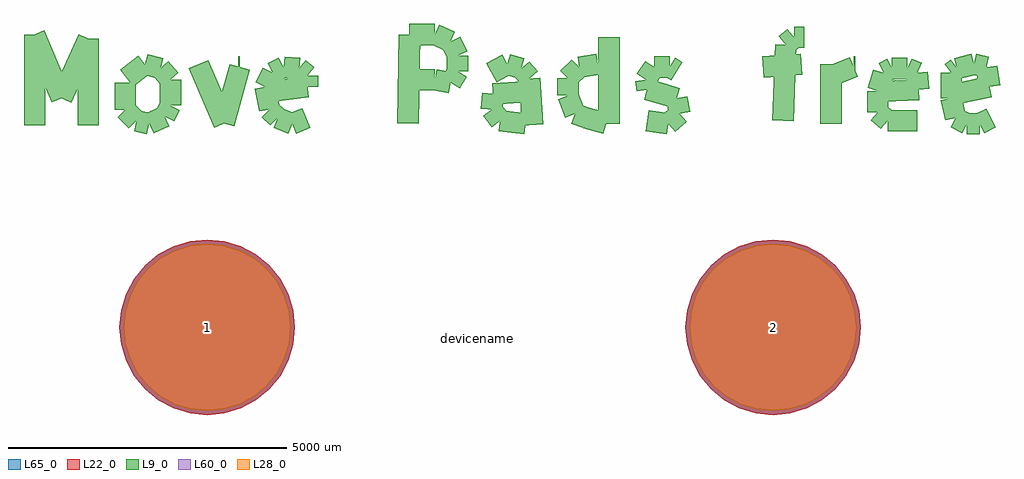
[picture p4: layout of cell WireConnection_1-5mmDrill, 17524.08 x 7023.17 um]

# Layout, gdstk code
import gdstk
lib = gdstk.Library(unit=1e-6, precision=1e-09)
def P(c, l, *ps):  # polygons
    for p in ps: c.add(gdstk.Polygon(p, *l))
L9_0 = (9, 0)
L22_0 = (22, 0)
L28_0 = (28, 0)
L60_0 = (60, 0)
L65_0 = (65, 0)

wireconnection_1_5mmdril = lib.new_cell('WireConnection_1-5mmDrill')
P(wireconnection_1_5mmdril, L22_0, [(11734.87,0),(11704.609,307.242),(11614.99,602.677),(11469.457,874.951),(11273.601,1113.601),(11034.951,1309.457),(10762.677,1454.99),(10467.242,1544.609),(10160,1574.87),(9852.758,1544.609),(9557.323,1454.99),(9285.049,1309.457),(9046.399,1113.601),(8850.543,874.951),(8705.01,602.677),(8615.391,307.242),(8585.13,0),(8615.391,-307.242),(8705.01,-602.677),(8850.543,-874.951),(9046.399,-1113.601),(9285.049,-1309.457),(9557.323,-1454.99),(9852.758,-1544.609),(10160,-1574.87),(10467.242,-1544.609),(10762.677,-1454.99),(11034.951,-1309.457),(11273.601,-1113.601),(11469.457,-874.951),(11614.99,-602.677),(11704.609,-307.242)],
  [(1574.87,0),(1544.609,307.242),(1454.99,602.677),(1309.457,874.951),(1113.601,1113.601),(874.951,1309.457),(602.677,1454.99),(307.242,1544.609),(0,1574.87),(-307.242,1544.609),(-602.677,1454.99),(-874.951,1309.457),(-1113.601,1113.601),(-1309.457,874.951),(-1454.99,602.677),(-1544.609,307.242),(-1574.87,0),(-1544.609,-307.242),(-1454.99,-602.677),(-1309.457,-874.951),(-1113.601,-1113.601),(-874.951,-1309.457),(-602.677,-1454.99),(-307.242,-1544.609),(0,-1574.87),(307.242,-1544.609),(602.677,-1454.99),(874.951,-1309.457),(1113.601,-1113.601),(1309.457,-874.951),(1454.99,-602.677),(1544.609,-307.242)])
P(wireconnection_1_5mmdril, L28_0, [(11659.87,0),(11631.05,292.61),(11545.699,573.975),(11407.096,833.283),(11220.568,1060.568),(10993.283,1247.096),(10733.975,1385.699),(10452.61,1471.05),(10160,1499.87),(9867.39,1471.05),(9586.025,1385.699),(9326.717,1247.096),(9099.432,1060.568),(8912.904,833.283),(8774.301,573.975),(8688.95,292.61),(8660.13,0),(8688.95,-292.61),(8774.301,-573.975),(8912.904,-833.283),(9099.432,-1060.568),(9326.717,-1247.096),(9586.025,-1385.699),(9867.39,-1471.05),(10160,-1499.87),(10452.61,-1471.05),(10733.975,-1385.699),(10993.283,-1247.096),(11220.568,-1060.568),(11407.096,-833.283),(11545.699,-573.975),(11631.05,-292.61)],
  [(1499.87,0),(1471.05,292.61),(1385.699,573.975),(1247.096,833.283),(1060.568,1060.568),(833.283,1247.096),(573.975,1385.699),(292.61,1471.05),(0,1499.87),(-292.61,1471.05),(-573.975,1385.699),(-833.283,1247.096),(-1060.568,1060.568),(-1247.096,833.283),(-1385.699,573.975),(-1471.05,292.61),(-1499.87,0),(-1471.05,-292.61),(-1385.699,-573.975),(-1247.096,-833.283),(-1060.568,-1060.568),(-833.283,-1247.096),(-573.975,-1385.699),(-292.61,-1471.05),(0,-1499.87),(292.61,-1471.05),(573.975,-1385.699),(833.283,-1247.096),(1060.568,-1060.568),(1247.096,-833.283),(1385.699,-573.975),(1471.05,-292.61)])
P(wireconnection_1_5mmdril, L60_0, [(11659.87,0),(11631.05,292.61),(11545.699,573.975),(11407.096,833.283),(11220.568,1060.568),(10993.283,1247.096),(10733.975,1385.699),(10452.61,1471.05),(10160,1499.87),(9867.39,1471.05),(9586.025,1385.699),(9326.717,1247.096),(9099.432,1060.568),(8912.904,833.283),(8774.301,573.975),(8688.95,292.61),(8660.13,0),(8688.95,-292.61),(8774.301,-573.975),(8912.904,-833.283),(9099.432,-1060.568),(9326.717,-1247.096),(9586.025,-1385.699),(9867.39,-1471.05),(10160,-1499.87),(10452.61,-1471.05),(10733.975,-1385.699),(10993.283,-1247.096),(11220.568,-1060.568),(11407.096,-833.283),(11545.699,-573.975),(11631.05,-292.61)],
  [(1499.87,0),(1471.05,292.61),(1385.699,573.975),(1247.096,833.283),(1060.568,1060.568),(833.283,1247.096),(573.975,1385.699),(292.61,1471.05),(0,1499.87),(-292.61,1471.05),(-573.975,1385.699),(-833.283,1247.096),(-1060.568,1060.568),(-1247.096,833.283),(-1385.699,573.975),(-1471.05,292.61),(-1499.87,0),(-1471.05,-292.61),(-1385.699,-573.975),(-1247.096,-833.283),(-1060.568,-1060.568),(-833.283,-1247.096),(-573.975,-1385.699),(-292.61,-1471.05),(0,-1499.87),(292.61,-1471.05),(573.975,-1385.699),(833.283,-1247.096),(1060.568,-1060.568),(1247.096,-833.283),(1385.699,-573.975),(1471.05,-292.61)])
P(wireconnection_1_5mmdril, L65_0, [(11734.87,0),(11704.609,307.242),(11614.99,602.677),(11469.457,874.951),(11273.601,1113.601),(11034.951,1309.457),(10762.677,1454.99),(10467.242,1544.609),(10160,1574.87),(9852.758,1544.609),(9557.323,1454.99),(9285.049,1309.457),(9046.399,1113.601),(8850.543,874.951),(8705.01,602.677),(8615.391,307.242),(8585.13,0),(8615.391,-307.242),(8705.01,-602.677),(8850.543,-874.951),(9046.399,-1113.601),(9285.049,-1309.457),(9557.323,-1454.99),(9852.758,-1544.609),(10160,-1574.87),(10467.242,-1544.609),(10762.677,-1454.99),(11034.951,-1309.457),(11273.601,-1113.601),(11469.457,-874.951),(11614.99,-602.677),(11704.609,-307.242)],
  [(1574.87,0),(1544.609,307.242),(1454.99,602.677),(1309.457,874.951),(1113.601,1113.601),(874.951,1309.457),(602.677,1454.99),(307.242,1544.609),(0,1574.87),(-307.242,1544.609),(-602.677,1454.99),(-874.951,1309.457),(-1113.601,1113.601),(-1309.457,874.951),(-1454.99,602.677),(-1544.609,307.242),(-1574.87,0),(-1544.609,-307.242),(-1454.99,-602.677),(-1309.457,-874.951),(-1113.601,-1113.601),(-874.951,-1309.457),(-602.677,-1454.99),(-307.242,-1544.609),(0,-1574.87),(307.242,-1544.609),(602.677,-1454.99),(874.951,-1309.457),(1113.601,-1113.601),(1309.457,-874.951),(1454.99,-602.677),(1544.609,-307.242)])
wireconnection_1_5mmdril.add(gdstk.FlexPath([(-2133.6,5181.6),(-2133.6,3632.2)], 380.998, ends="flush", simple_path=True, layer=9, datatype=0))  # L9_0
wireconnection_1_5mmdril.add(gdstk.FlexPath([(-2616.2,4114.8),(-2133.6,5181.6)], 380.998, ends="flush", simple_path=True, layer=9, datatype=0))  # L9_0
wireconnection_1_5mmdril.add(gdstk.FlexPath([(-3098.8,5257.8),(-2616.2,4114.8)], 380.998, ends="flush", simple_path=True, layer=9, datatype=0))  # L9_0
wireconnection_1_5mmdril.add(gdstk.FlexPath([(-3098.8,3632.2),(-3098.8,5257.8)], 380.998, ends="flush", simple_path=True, layer=9, datatype=0))  # L9_0
wireconnection_1_5mmdril.add(gdstk.FlexPath([(-1117.6,4724.4),(-1447.8,4470.4)], 380.998, ends="flush", simple_path=True, layer=9, datatype=0))  # L9_0
wireconnection_1_5mmdril.add(gdstk.FlexPath([(-838.2,4648.2),(-1117.6,4724.4)], 380.998, ends="flush", simple_path=True, layer=9, datatype=0))  # L9_0
wireconnection_1_5mmdril.add(gdstk.FlexPath([(-660.4,4445),(-838.2,4648.2)], 380.998, ends="flush", simple_path=True, layer=9, datatype=0))  # L9_0
wireconnection_1_5mmdril.add(gdstk.FlexPath([(-660.4,3987.8),(-660.4,4445)], 380.998, ends="flush", simple_path=True, layer=9, datatype=0))  # L9_0
wireconnection_1_5mmdril.add(gdstk.FlexPath([(-762,3784.6),(-660.4,3987.8)], 380.998, ends="flush", simple_path=True, layer=9, datatype=0))  # L9_0
wireconnection_1_5mmdril.add(gdstk.FlexPath([(-1041.4,3657.6),(-762,3784.6)], 380.998, ends="flush", simple_path=True, layer=9, datatype=0))  # L9_0
wireconnection_1_5mmdril.add(gdstk.FlexPath([(-1270,3708.4),(-1041.4,3657.6)], 380.998, ends="flush", simple_path=True, layer=9, datatype=0))  # L9_0
wireconnection_1_5mmdril.add(gdstk.FlexPath([(-1473.2,3911.6),(-1270,3708.4)], 380.998, ends="flush", simple_path=True, layer=9, datatype=0))  # L9_0
wireconnection_1_5mmdril.add(gdstk.FlexPath([(-1473.2,4394.2),(-1473.2,3911.6)], 380.998, ends="flush", simple_path=True, layer=9, datatype=0))  # L9_0
wireconnection_1_5mmdril.add(gdstk.FlexPath([(584.2,4673.6),(558.8,4673.6)], 380.998, ends="flush", simple_path=True, layer=9, datatype=0))  # L9_0
wireconnection_1_5mmdril.add(gdstk.FlexPath([(304.8,3657.6),(584.2,4673.6)], 380.998, ends="flush", simple_path=True, layer=9, datatype=0))  # L9_0
wireconnection_1_5mmdril.add(gdstk.FlexPath([(-152.4,4724.4),(304.8,3657.6)], 380.998, ends="flush", simple_path=True, layer=9, datatype=0))  # L9_0
wireconnection_1_5mmdril.add(gdstk.FlexPath([(1803.4,4318),(1168.4,4241.8)], 380.998, ends="flush", simple_path=True, layer=9, datatype=0))  # L9_0
wireconnection_1_5mmdril.add(gdstk.FlexPath([(1803.4,4521.2),(1803.4,4318)], 380.998, ends="flush", simple_path=True, layer=9, datatype=0))  # L9_0
wireconnection_1_5mmdril.add(gdstk.FlexPath([(1651,4648.2),(1803.4,4521.2)], 380.998, ends="flush", simple_path=True, layer=9, datatype=0))  # L9_0
wireconnection_1_5mmdril.add(gdstk.FlexPath([(1371.6,4673.6),(1651,4648.2)], 380.998, ends="flush", simple_path=True, layer=9, datatype=0))  # L9_0
wireconnection_1_5mmdril.add(gdstk.FlexPath([(1168.4,4572),(1371.6,4673.6)], 380.998, ends="flush", simple_path=True, layer=9, datatype=0))  # L9_0
wireconnection_1_5mmdril.add(gdstk.FlexPath([(1041.4,4318),(1168.4,4572)], 380.998, ends="flush", simple_path=True, layer=9, datatype=0))  # L9_0
wireconnection_1_5mmdril.add(gdstk.FlexPath([(1117.6,3911.6),(1041.4,4318)], 380.998, ends="flush", simple_path=True, layer=9, datatype=0))  # L9_0
wireconnection_1_5mmdril.add(gdstk.FlexPath([(1270,3759.2),(1117.6,3911.6)], 380.998, ends="flush", simple_path=True, layer=9, datatype=0))  # L9_0
wireconnection_1_5mmdril.add(gdstk.FlexPath([(1524,3657.6),(1270,3759.2)], 380.998, ends="flush", simple_path=True, layer=9, datatype=0))  # L9_0
wireconnection_1_5mmdril.add(gdstk.FlexPath([(1778,3759.2),(1524,3657.6)], 380.998, ends="flush", simple_path=True, layer=9, datatype=0))  # L9_0
wireconnection_1_5mmdril.add(gdstk.FlexPath([(4089.4,4445),(3632.2,4445)], 380.998, ends="flush", simple_path=True, layer=9, datatype=0))  # L9_0
wireconnection_1_5mmdril.add(gdstk.FlexPath([(4368.8,4394.2),(4089.4,4445)], 380.998, ends="flush", simple_path=True, layer=9, datatype=0))  # L9_0
wireconnection_1_5mmdril.add(gdstk.FlexPath([(4495.8,4597.4),(4368.8,4394.2)], 380.998, ends="flush", simple_path=True, layer=9, datatype=0))  # L9_0
wireconnection_1_5mmdril.add(gdstk.FlexPath([(4495.8,4876.8),(4495.8,4597.4)], 380.998, ends="flush", simple_path=True, layer=9, datatype=0))  # L9_0
wireconnection_1_5mmdril.add(gdstk.FlexPath([(4368.8,5130.8),(4495.8,4876.8)], 380.998, ends="flush", simple_path=True, layer=9, datatype=0))  # L9_0
wireconnection_1_5mmdril.add(gdstk.FlexPath([(4089.4,5257.8),(4368.8,5130.8)], 380.998, ends="flush", simple_path=True, layer=9, datatype=0))  # L9_0
wireconnection_1_5mmdril.add(gdstk.FlexPath([(3632.2,5257.8),(4089.4,5257.8)], 380.998, ends="flush", simple_path=True, layer=9, datatype=0))  # L9_0
wireconnection_1_5mmdril.add(gdstk.FlexPath([(3606.8,3657.6),(3632.2,5257.8)], 380.998, ends="flush", simple_path=True, layer=9, datatype=0))  # L9_0
wireconnection_1_5mmdril.add(gdstk.FlexPath([(5791.2,4470.4),(5842,3632.2)], 380.998, ends="flush", simple_path=True, layer=9, datatype=0))  # L9_0
wireconnection_1_5mmdril.add(gdstk.FlexPath([(5638.8,4648.2),(5791.2,4470.4)], 380.998, ends="flush", simple_path=True, layer=9, datatype=0))  # L9_0
wireconnection_1_5mmdril.add(gdstk.FlexPath([(5384.8,4724.4),(5638.8,4648.2)], 380.998, ends="flush", simple_path=True, layer=9, datatype=0))  # L9_0
wireconnection_1_5mmdril.add(gdstk.FlexPath([(5105.4,4572),(5384.8,4724.4)], 380.998, ends="flush", simple_path=True, layer=9, datatype=0))  # L9_0
wireconnection_1_5mmdril.add(gdstk.FlexPath([(5130.8,4191),(5842,4241.8)], 380.998, ends="flush", simple_path=True, layer=9, datatype=0))  # L9_0
wireconnection_1_5mmdril.add(gdstk.FlexPath([(5105.4,3911.6),(5130.8,4191)], 380.998, ends="flush", simple_path=True, layer=9, datatype=0))  # L9_0
wireconnection_1_5mmdril.add(gdstk.FlexPath([(5257.8,3708.4),(5105.4,3911.6)], 380.998, ends="flush", simple_path=True, layer=9, datatype=0))  # L9_0
wireconnection_1_5mmdril.add(gdstk.FlexPath([(5715,3657.6),(5257.8,3708.4)], 380.998, ends="flush", simple_path=True, layer=9, datatype=0))  # L9_0
wireconnection_1_5mmdril.add(gdstk.FlexPath([(7213.6,5207),(7213.6,3657.6)], 380.998, ends="flush", simple_path=True, layer=9, datatype=0))  # L9_0
wireconnection_1_5mmdril.add(gdstk.FlexPath([(6680.2,4673.6),(7010.4,4724.4)], 380.998, ends="flush", simple_path=True, layer=9, datatype=0))  # L9_0
wireconnection_1_5mmdril.add(gdstk.FlexPath([(6477,4470.4),(6680.2,4673.6)], 380.998, ends="flush", simple_path=True, layer=9, datatype=0))  # L9_0
wireconnection_1_5mmdril.add(gdstk.FlexPath([(6477,4165.6),(6477,4470.4)], 380.998, ends="flush", simple_path=True, layer=9, datatype=0))  # L9_0
wireconnection_1_5mmdril.add(gdstk.FlexPath([(6604,3835.4),(6477,4165.6)], 380.998, ends="flush", simple_path=True, layer=9, datatype=0))  # L9_0
wireconnection_1_5mmdril.add(gdstk.FlexPath([(6807.2,3759.2),(6604,3835.4)], 380.998, ends="flush", simple_path=True, layer=9, datatype=0))  # L9_0
wireconnection_1_5mmdril.add(gdstk.FlexPath([(7162.8,3657.6),(6807.2,3759.2)], 380.998, ends="flush", simple_path=True, layer=9, datatype=0))  # L9_0
wireconnection_1_5mmdril.add(gdstk.FlexPath([(8280.4,3657.6),(7899.4,3708.4)], 380.998, ends="flush", simple_path=True, layer=9, datatype=0))  # L9_0
wireconnection_1_5mmdril.add(gdstk.FlexPath([(8483.6,3835.4),(8280.4,3657.6)], 380.998, ends="flush", simple_path=True, layer=9, datatype=0))  # L9_0
wireconnection_1_5mmdril.add(gdstk.FlexPath([(8432.8,4114.8),(8483.6,3835.4)], 380.998, ends="flush", simple_path=True, layer=9, datatype=0))  # L9_0
wireconnection_1_5mmdril.add(gdstk.FlexPath([(8178.8,4191),(8432.8,4114.8)], 380.998, ends="flush", simple_path=True, layer=9, datatype=0))  # L9_0
wireconnection_1_5mmdril.add(gdstk.FlexPath([(7899.4,4267.2),(8178.8,4191)], 380.998, ends="flush", simple_path=True, layer=9, datatype=0))  # L9_0
wireconnection_1_5mmdril.add(gdstk.FlexPath([(7874,4445),(7899.4,4267.2)], 380.998, ends="flush", simple_path=True, layer=9, datatype=0))  # L9_0
wireconnection_1_5mmdril.add(gdstk.FlexPath([(8026.4,4673.6),(7874,4445)], 380.998, ends="flush", simple_path=True, layer=9, datatype=0))  # L9_0
wireconnection_1_5mmdril.add(gdstk.FlexPath([(8305.8,4673.6),(8026.4,4673.6)], 380.998, ends="flush", simple_path=True, layer=9, datatype=0))  # L9_0
wireconnection_1_5mmdril.add(gdstk.FlexPath([(8432.8,4597.4),(8305.8,4673.6)], 380.998, ends="flush", simple_path=True, layer=9, datatype=0))  # L9_0
wireconnection_1_5mmdril.add(gdstk.FlexPath([(10388.6,5080),(10337.8,3708.4)], 380.998, ends="flush", simple_path=True, layer=9, datatype=0))  # L9_0
wireconnection_1_5mmdril.add(gdstk.FlexPath([(10541,5207),(10388.6,5080)], 380.998, ends="flush", simple_path=True, layer=9, datatype=0))  # L9_0
wireconnection_1_5mmdril.add(gdstk.FlexPath([(10718.8,5207),(10541,5207)], 380.998, ends="flush", simple_path=True, layer=9, datatype=0))  # L9_0
wireconnection_1_5mmdril.add(gdstk.FlexPath([(9982.2,4673.6),(10668,4724.4)], 380.998, ends="flush", simple_path=True, layer=9, datatype=0))  # L9_0
wireconnection_1_5mmdril.add(gdstk.FlexPath([(11201.4,4724.4),(11201.4,3657.6)], 380.998, ends="flush", simple_path=True, layer=9, datatype=0))  # L9_0
wireconnection_1_5mmdril.add(gdstk.FlexPath([(11607.8,4673.6),(11633.2,4673.6)], 380.998, ends="flush", simple_path=True, layer=9, datatype=0))  # L9_0
wireconnection_1_5mmdril.add(gdstk.FlexPath([(11226.8,4521.2),(11607.8,4673.6)], 380.998, ends="flush", simple_path=True, layer=9, datatype=0))  # L9_0
wireconnection_1_5mmdril.add(gdstk.FlexPath([(12776.2,4267.2),(12141.2,4241.8)], 380.998, ends="flush", simple_path=True, layer=9, datatype=0))  # L9_0
wireconnection_1_5mmdril.add(gdstk.FlexPath([(12750.8,4572),(12776.2,4267.2)], 380.998, ends="flush", simple_path=True, layer=9, datatype=0))  # L9_0
wireconnection_1_5mmdril.add(gdstk.FlexPath([(12573,4648.2),(12750.8,4572)], 380.998, ends="flush", simple_path=True, layer=9, datatype=0))  # L9_0
wireconnection_1_5mmdril.add(gdstk.FlexPath([(12293.6,4648.2),(12573,4648.2)], 380.998, ends="flush", simple_path=True, layer=9, datatype=0))  # L9_0
wireconnection_1_5mmdril.add(gdstk.FlexPath([(12141.2,4572),(12293.6,4648.2)], 380.998, ends="flush", simple_path=True, layer=9, datatype=0))  # L9_0
wireconnection_1_5mmdril.add(gdstk.FlexPath([(12039.6,4241.8),(12141.2,4572)], 380.998, ends="flush", simple_path=True, layer=9, datatype=0))  # L9_0
wireconnection_1_5mmdril.add(gdstk.FlexPath([(12039.6,3860.8),(12039.6,4241.8)], 380.998, ends="flush", simple_path=True, layer=9, datatype=0))  # L9_0
wireconnection_1_5mmdril.add(gdstk.FlexPath([(12217.4,3708.4),(12039.6,3860.8)], 380.998, ends="flush", simple_path=True, layer=9, datatype=0))  # L9_0
wireconnection_1_5mmdril.add(gdstk.FlexPath([(12420.6,3708.4),(12217.4,3708.4)], 380.998, ends="flush", simple_path=True, layer=9, datatype=0))  # L9_0
wireconnection_1_5mmdril.add(gdstk.FlexPath([(12750.8,3708.4),(12420.6,3708.4)], 380.998, ends="flush", simple_path=True, layer=9, datatype=0))  # L9_0
wireconnection_1_5mmdril.add(gdstk.FlexPath([(13436.6,4191),(13436.6,4241.8)], 380.998, ends="flush", simple_path=True, layer=9, datatype=0))  # L9_0
wireconnection_1_5mmdril.add(gdstk.FlexPath([(14046.2,4318),(13436.6,4191)], 380.998, ends="flush", simple_path=True, layer=9, datatype=0))  # L9_0
wireconnection_1_5mmdril.add(gdstk.FlexPath([(13995.4,4673.6),(14046.2,4318)], 380.998, ends="flush", simple_path=True, layer=9, datatype=0))  # L9_0
wireconnection_1_5mmdril.add(gdstk.FlexPath([(13766.8,4724.4),(13995.4,4673.6)], 380.998, ends="flush", simple_path=True, layer=9, datatype=0))  # L9_0
wireconnection_1_5mmdril.add(gdstk.FlexPath([(13462,4648.2),(13766.8,4724.4)], 380.998, ends="flush", simple_path=True, layer=9, datatype=0))  # L9_0
wireconnection_1_5mmdril.add(gdstk.FlexPath([(13360.4,4572),(13462,4648.2)], 380.998, ends="flush", simple_path=True, layer=9, datatype=0))  # L9_0
wireconnection_1_5mmdril.add(gdstk.FlexPath([(13360.4,4114.8),(13360.4,4572)], 380.998, ends="flush", simple_path=True, layer=9, datatype=0))  # L9_0
wireconnection_1_5mmdril.add(gdstk.FlexPath([(13436.6,3759.2),(13360.4,4114.8)], 380.998, ends="flush", simple_path=True, layer=9, datatype=0))  # L9_0
wireconnection_1_5mmdril.add(gdstk.FlexPath([(13639.8,3657.6),(13436.6,3759.2)], 380.998, ends="flush", simple_path=True, layer=9, datatype=0))  # L9_0
wireconnection_1_5mmdril.add(gdstk.FlexPath([(13868.4,3657.6),(13639.8,3657.6)], 380.998, ends="flush", simple_path=True, layer=9, datatype=0))  # L9_0
wireconnection_1_5mmdril.add(gdstk.FlexPath([(14071.6,3759.2),(13868.4,3657.6)], 380.998, ends="flush", simple_path=True, layer=9, datatype=0))  # L9_0
wireconnection_1_5mmdril.add(gdstk.Label('2', (10160,0), layer=28, texttype=0))
wireconnection_1_5mmdril.add(gdstk.Label('1', (0,0), layer=28, texttype=0))
wireconnection_1_5mmdril.add(gdstk.Label('type', (5080,-3810), layer=9, texttype=0))
wireconnection_1_5mmdril.add(gdstk.Label('devicename', (4851.4,-203.2), layer=9, texttype=0))

lib.write_gds('WireConnection_1-5mmDrill.gds')
